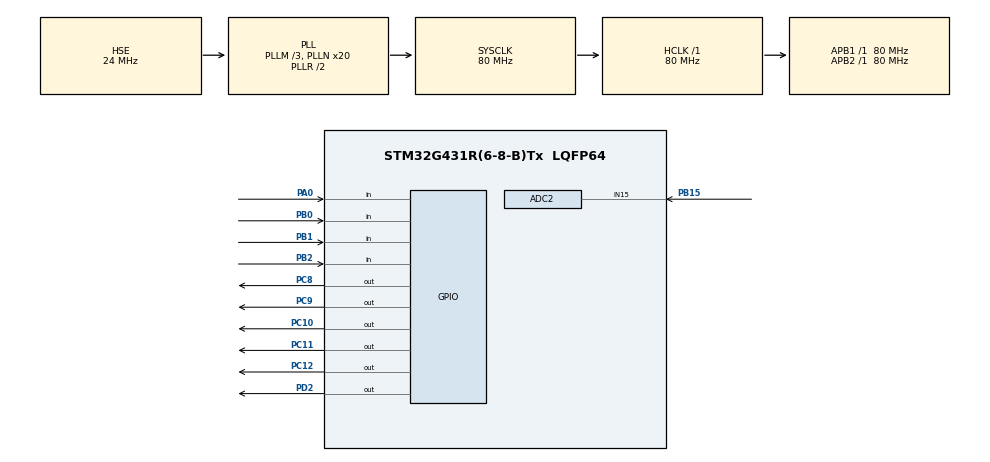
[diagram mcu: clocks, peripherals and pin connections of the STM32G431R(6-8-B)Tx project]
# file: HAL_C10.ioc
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ADC2.Channel-0\#ChannelRegularConversion=ADC_CHANNEL_15
ADC2.NbrOfConversionFlag=1
ADC2.OffsetNumber-0\#ChannelRegularConversion=ADC_OFFSET_NONE
ADC2.Rank-0\#ChannelRegularConversion=1
ADC2.SamplingTime-0\#ChannelRegularConversion=ADC_SAMPLETIME_640CYCLES_5
Mcu.Family=STM32G4
Mcu.Name=STM32G431R(6-8-B)Tx
Mcu.Package=LQFP64
NVIC.PriorityGroup=NVIC_PRIORITYGROUP_4
PA0.Signal=GPIO_Input
PB0.Signal=GPIO_Input
PB1.Signal=GPIO_Input
PB15.Mode=IN15-Single-Ended
PB15.Signal=ADC2_IN15
PB2.Signal=GPIO_Input
PC10.PinState=GPIO_PIN_SET
PC10.Signal=GPIO_Output
PC11.PinState=GPIO_PIN_SET
PC11.Signal=GPIO_Output
PC12.PinState=GPIO_PIN_SET
PC12.Signal=GPIO_Output
PC8.PinState=GPIO_PIN_SET
PC8.Signal=GPIO_Output
PC9.PinState=GPIO_PIN_SET
PC9.Signal=GPIO_Output
PD2.Signal=GPIO_Output
PF0-OSC_IN.Mode=HSE-External-Oscillator
PF0-OSC_IN.Signal=RCC_OSC_IN
PF1-OSC_OUT.Mode=HSE-External-Oscillator
PF1-OSC_OUT.Signal=RCC_OSC_OUT
ProjectManager.HeapSize=0x200
ProjectManager.StackSize=0x400
ProjectManager.TargetToolchain=MDK-ARM V5.27
RCC.ADC12Freq_Value=80000000
RCC.AHBFreq_Value=80000000
RCC.APB1Freq_Value=80000000
RCC.APB1TimFreq_Value=80000000
RCC.APB2Freq_Value=80000000
RCC.APB2TimFreq_Value=80000000
RCC.CortexFreq_Value=80000000
RCC.EXTERNAL_CLOCK_VALUE=12288000
RCC.HCLKFreq_Value=80000000
RCC.HSE_VALUE=24000000
RCC.HSI48_VALUE=48000000
RCC.HSI_VALUE=16000000
RCC.LSE_VALUE=32768
RCC.PLLM=RCC_PLLM_DIV3
RCC.PLLN=20
RCC.PLLSourceVirtual=RCC_PLLSOURCE_HSE
RCC.SYSCLKFreq_VALUE=80000000
RCC.SYSCLKSource=RCC_SYSCLKSOURCE_PLLCLK
RCC.USBFreq_Value=80000000
RCC.VCOOutputFreq_Value=160000000
VP_SYS_VS_DBSignals.Mode=DisableDeadBatterySignals
board=custom

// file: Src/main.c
/* USER CODE BEGIN Header */
/**
  ******************************************************************************
  * @file           : main.c
  * @brief          : Main program body
  ******************************************************************************
  * @attention
  *
  * <h2><center>&copy; Copyright (c) 2024 STMicroelectronics.
  * All rights reserved.</center></h2>
  *
  * This software component is licensed by ST under BSD 3-Clause license,
  * the "License"; You may not use this file except in compliance with the
  * License. You may obtain a copy of the License at:
  *                        opensource.org/licenses/BSD-3-Clause
  *
  ******************************************************************************
  */
/* USER CODE END Header */

#include "main.h"
#include "adc.h"
#include "gpio.h"

/* USER CODE BEGIN Includes */
#include "lcd_hal.h"
#include <stdio.h>
#include "led.h"
/* USER CODE END Includes */

/* USER CODE BEGIN PTD */
typedef enum
{
	Key_Check,
	Key_Press,
	Key_Release,
	Key_Over
}Key_State;
typedef enum
{
	Upper,
	Lower,
	Normal
}_Status;
/* USER CODE END PTD */

/* USER CODE BEGIN PD */
#define K1 HAL_GPIO_ReadPin(GPIOB, GPIO_PIN_0)
#define K2 HAL_GPIO_ReadPin(GPIOB, GPIO_PIN_1)
#define K3 HAL_GPIO_ReadPin(GPIOB, GPIO_PIN_2)
#define K4 HAL_GPIO_ReadPin(GPIOA, GPIO_PIN_0)

#define Press GPIO_PIN_RESET
#define Release GPIO_PIN_SET

/* USER CODE END PD */

/* USER CODE BEGIN PV */
uint8_t Str[20];
Key_State KeyState = Key_Check;
uint16_t Key_Press_Time = 20;
uint8_t KeyNum;

uint8_t Flag_K1;
_Status Status = Normal;

float Vol_M = 2.4, Vol_m = 1.2;
uint8_t LED_U = 1, LED_L = 2;
uint8_t Flag_Set;

uint8_t Flag_LEDU, Flag_LEDL;
/* USER CODE END PV */

void SystemClock_Config(void);
/* USER CODE BEGIN PFP */
void LCD_HighLight(uint8_t Line, uint8_t * LCD_Show, uint8_t pos, uint8_t add);
void LCD_Show(void);

/* USER CODE END PFP */

/* USER CODE BEGIN 0 */
float getADC_R37(void)
{
	uint16_t adc;//0~4096

	HAL_ADC_Start(&hadc2);
	HAL_ADC_PollForConversion(&hadc2, 10);
	adc = HAL_ADC_GetValue(&hadc2);
	HAL_ADC_Stop(&hadc2);

	return (adc * 3.3f / 4096);
}
/* USER CODE END 0 */

int main(void)
{

  /* MCU Configuration--------------------------------------------------------*/

  /* Reset of all peripherals, Initializes the Flash interface and the Systick. */
  HAL_Init();

  /* Configure the system clock */
  SystemClock_Config();

  /* Initialize all configured peripherals */
  MX_GPIO_Init();
  MX_ADC2_Init();
  /* USER CODE BEGIN 2 */
  LED_Init();

  LCD_Init();

  LCD_Clear(Black);
  LCD_SetBackColor(Black);
  LCD_SetTextColor(White);

  /* USER CODE END 2 */

  /* Infinite loop */
  /* USER CODE BEGIN WHILE */
  while (1)
  {
	if(KeyState == Key_Over)
	{
		KeyState = Key_Check;
		if(KeyNum == 1)//设置界面
		{
			Flag_K1 = !Flag_K1;

		}
		else if(KeyNum == 2)//选择
		{
			if(Flag_K1 == 1)
			{
				Flag_Set ++;
				Flag_Set %= 4;
			}

		}
		else if(KeyNum == 3)
		{
			if(Flag_K1 == 1)
			{
				if(Flag_Set == 0)
				{
					Vol_M += 0.3f;
					if(Vol_M >= 3.3f)Vol_M = 0;
				}
				else if(Flag_Set == 1)
				{
					Vol_m += 0.3f;
					if(Vol_m >= 3.3f)Vol_m = 0;
				}
				else if(Flag_Set == 2)
				{
					LED_U ++;
					if(LED_U == 9)LED_U = 1;
					if(LED_L == LED_U)
					{
						LED_U ++;
						if(LED_U == 9)LED_U = 1;
					}
				}
				else if(Flag_Set == 3)
				{
					LED_L ++;
					if(LED_L == 9)LED_L = 1;
					if(LED_L == LED_U)
					{
						LED_L ++;
						if(LED_L == 9)LED_L = 1;
					}
				}
			}
		}
		else if(KeyNum == 4)
		{
			if(Flag_K1 == 1)
			{
				if(Flag_Set == 0)
				{
					Vol_M -= 0.3f;
					if(Vol_M < 0)Vol_M = 3.3f;
				}
				else if(Flag_Set == 1)
				{
					Vol_m -= 0.3f;
					if(Vol_m < 0)Vol_m = 3.3f;
				}
				else if(Flag_Set == 2)
				{
					LED_U --;
					if(LED_U == 0)LED_U = 8;
					if(LED_L == LED_U)
					{
						LED_U --;
						if(LED_U == 0)LED_U = 8;
					}
				}
				else if(Flag_Set == 3)
				{
					LED_L --;
					if(LED_L == 0)LED_L = 8;
					if(LED_L == LED_U)
					{
						LED_L --;
						if(LED_L == 0)LED_L = 8;
					}
				}
			}
		}
		Key_Press_Time = 0;
	}

	LCD_Show();

	if(getADC_R37() > Vol_M)
	{
		Status = Upper;
		if(Flag_LEDU == 1)LED_ON(LED_U);
		else LED_OFF(LED_U);
	}
	else if(getADC_R37() < Vol_m)
	{
		Status = Lower;
		if(Flag_LEDL == 1)LED_ON(LED_L);
		else LED_OFF(LED_L);
	}
	else if(getADC_R37() >= Vol_m && getADC_R37() <= Vol_M)
	{
		Status = Normal;
		LED_OFF(LED_U);
		LED_OFF(LED_L);
	}
    /* USER CODE END WHILE */

  }
}

void SystemClock_Config(void)
{
  RCC_OscInitTypeDef RCC_OscInitStruct = {0};
  RCC_ClkInitTypeDef RCC_ClkInitStruct = {0};
  RCC_PeriphCLKInitTypeDef PeriphClkInit = {0};

  /** Configure the main internal regulator output voltage
  */
  HAL_PWREx_ControlVoltageScaling(PWR_REGULATOR_VOLTAGE_SCALE1);
  /** Initializes the CPU, AHB and APB busses clocks
  */
  RCC_OscInitStruct.OscillatorType = RCC_OSCILLATORTYPE_HSE;
  RCC_OscInitStruct.HSEState = RCC_HSE_ON;
  RCC_OscInitStruct.PLL.PLLState = RCC_PLL_ON;
  RCC_OscInitStruct.PLL.PLLSource = RCC_PLLSOURCE_HSE;
  RCC_OscInitStruct.PLL.PLLM = RCC_PLLM_DIV3;
  RCC_OscInitStruct.PLL.PLLN = 20;
  RCC_OscInitStruct.PLL.PLLP = RCC_PLLP_DIV2;
  RCC_OscInitStruct.PLL.PLLQ = RCC_PLLQ_DIV2;
  RCC_OscInitStruct.PLL.PLLR = RCC_PLLR_DIV2;
  if (HAL_RCC_OscConfig(&RCC_OscInitStruct) != HAL_OK)
  {
    Error_Handler();
  }
  /** Initializes the CPU, AHB and APB busses clocks
  */
  RCC_ClkInitStruct.ClockType = RCC_CLOCKTYPE_HCLK|RCC_CLOCKTYPE_SYSCLK
                              |RCC_CLOCKTYPE_PCLK1|RCC_CLOCKTYPE_PCLK2;
  RCC_ClkInitStruct.SYSCLKSource = RCC_SYSCLKSOURCE_PLLCLK;
  RCC_ClkInitStruct.AHBCLKDivider = RCC_SYSCLK_DIV1;
  RCC_ClkInitStruct.APB1CLKDivider = RCC_HCLK_DIV1;
  RCC_ClkInitStruct.APB2CLKDivider = RCC_HCLK_DIV1;

  if (HAL_RCC_ClockConfig(&RCC_ClkInitStruct, FLASH_LATENCY_3) != HAL_OK)
  {
    Error_Handler();
  }
  /** Initializes the peripherals clocks
  */
  PeriphClkInit.PeriphClockSelection = RCC_PERIPHCLK_ADC12;
  PeriphClkInit.Adc12ClockSelection = RCC_ADC12CLKSOURCE_SYSCLK;
  if (HAL_RCCEx_PeriphCLKConfig(&PeriphClkInit) != HAL_OK)
  {
    Error_Handler();
  }
}

/* USER CODE BEGIN 4 */
void LCD_Show(void)
{
	if(Flag_K1 == 0)//数据显示界面
	{
		LCD_DisplayStringLine(Line0, (uint8_t *)"                    ");
		LCD_DisplayStringLine(Line1, (uint8_t *)"       Main         ");
		LCD_DisplayStringLine(Line2, (uint8_t *)"                    ");
		sprintf((char *) Str, "    Volt:%.2f V     ", getADC_R37());//字符串后面空格个数对ADC有影响
		LCD_DisplayStringLine(Line3, (uint8_t *)Str);
		LCD_DisplayStringLine(Line4, (uint8_t *)"                    ");
		if(Status == Upper)
		{
			LCD_DisplayStringLine(Line5, (uint8_t *)"    Status:Upper        ");
		}
		else if(Status == Lower)
		{
			LCD_DisplayStringLine(Line5, (uint8_t *)"    Status:Lower        ");
		}
		else if(Status == Normal)
		{
			LCD_DisplayStringLine(Line5, (uint8_t *)"    Status:Normal       ");
		}
		LCD_DisplayStringLine(Line6, (uint8_t *)"                    ");
		LCD_DisplayStringLine(Line7, (uint8_t *)"                    ");
		LCD_DisplayStringLine(Line8, (uint8_t *)"                    ");
		LCD_DisplayStringLine(Line9, (uint8_t *)"                    ");
	}
	else //参数配置界面
	{
		LCD_DisplayStringLine(Line0, (uint8_t *)"                    ");
		LCD_DisplayStringLine(Line1, (uint8_t *)"        Setting     ");
		LCD_DisplayStringLine(Line2, (uint8_t *)"                    ");
		LCD_DisplayStringLine(Line4, (uint8_t *)"                    ");
		LCD_DisplayStringLine(Line6, (uint8_t *)"                    ");
		LCD_DisplayStringLine(Line8, (uint8_t *)"                    ");

		if(Flag_Set == 0)
		{
			sprintf((char *) Str, "    Max Volt:%.1fV   ", Vol_M);
			LCD_HighLight(3, Str, 0, 20);//
			sprintf((char *) Str, "    Min Volt:%.1fV   ", Vol_m);
			LCD_DisplayStringLine(Line5, (uint8_t *)Str);
			sprintf((char *) Str, "    Upper:LD%d       ", LED_U);
			LCD_DisplayStringLine(Line7, (uint8_t *)Str);
			sprintf((char *) Str, "    Lower:LD%d       ", LED_L);
			LCD_DisplayStringLine(Line9, (uint8_t *)Str);
		}
		else if(Flag_Set == 1)
		{
			sprintf((char *) Str, "    Max Volt:%.1fV   ", Vol_M);
			LCD_DisplayStringLine(Line3, (uint8_t *)Str);
			sprintf((char *) Str, "    Min Volt:%.1fV   ", Vol_m);
			LCD_HighLight(5, Str, 0, 20);//
			sprintf((char *) Str, "    Upper:LD%d       ", LED_U);
			LCD_DisplayStringLine(Line7, (uint8_t *)Str);
			sprintf((char *) Str, "    Lower:LD%d       ", LED_L);
			LCD_DisplayStringLine(Line9, (uint8_t *)Str);
		}
		else if(Flag_Set == 2)
		{
			sprintf((char *) Str, "    Max Volt:%.1fV   ", Vol_M);
			LCD_DisplayStringLine(Line3, (uint8_t *)Str);
			sprintf((char *) Str, "    Min Volt:%.1fV   ", Vol_m);
			LCD_DisplayStringLine(Line5, (uint8_t *)Str);
			sprintf((char *) Str, "    Upper:LD%d       ", LED_U);
			LCD_HighLight(7, Str, 0, 20);//
			sprintf((char *) Str, "    Lower:LD%d       ", LED_L);
			LCD_DisplayStringLine(Line9, (uint8_t *)Str);
		}
		else if(Flag_Set == 3)
		{
			sprintf((char *) Str, "    Max Volt:%.1fV   ", Vol_M);
			LCD_DisplayStringLine(Line3, (uint8_t *)Str);
			sprintf((char *) Str, "    Min Volt:%.1fV   ", Vol_m);
			LCD_DisplayStringLine(Line5, (uint8_t *)Str);
			sprintf((char *) Str, "    Upper:LD%d       ", LED_U);
			LCD_DisplayStringLine(Line7, (uint8_t *)Str);
			sprintf((char *) Str, "    Lower:LD%d       ", LED_L);
			LCD_HighLight(9, Str, 0, 20);//
		}
	}
}
void LCD_HighLight(uint8_t Line, uint8_t * LCD_Show, uint8_t pos, uint8_t add)
{
	uint8_t i;
	for(i = 0; i < 20; i++)
	{
		if(i != pos)LCD_DisplayChar(24 * Line, 320 - (16 * i), LCD_Show[i]);
		else i += add;
	}
	LCD_SetBackColor(White);
	LCD_SetTextColor(Black);
	for(i = 0; i < add; i++)
	{
		LCD_DisplayChar(24 * Line, 320 - (16 * (i + pos)), LCD_Show[i + pos]);
	}
	LCD_SetBackColor(Black);
	LCD_SetTextColor(White);
}

void Key_Scan(void)
{
	switch(KeyState)
	{
		case Key_Check:
		{
			if(K1 == Press || K2 == Press || K3 == Press || K4 == Press)
			{
				KeyState = Key_Press;
			}
		}
		break;
		case Key_Press:
		{
			if(K1 == Press)KeyNum = 1;
			else if(K2 == Press)KeyNum = 2;
			else if(K3 == Press)KeyNum = 3;
			else if(K4 == Press)KeyNum = 4;
			KeyState = Key_Release;
		}
		break;
		case Key_Release:
		{
			if(K1 == Press || K2 == Press || K3 == Press || K4 == Press)
			{
				Key_Press_Time += 10;
			}
			else
			{
				KeyState = Key_Over;
			}
		}
		break;
		default:
		break;
	}
}
/* USER CODE END 4 */

void Error_Handler(void)
{
}

/************************ (C) COPYRIGHT STMicroelectronics *****END OF FILE****/
